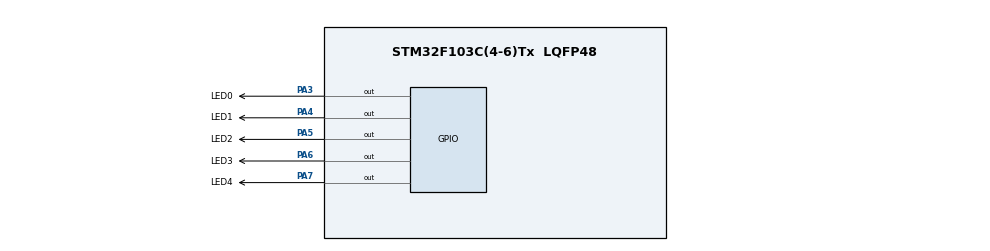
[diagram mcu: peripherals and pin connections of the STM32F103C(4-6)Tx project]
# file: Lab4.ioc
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Mcu.Family=STM32F1
Mcu.Name=STM32F103C(4-6)Tx
Mcu.Package=LQFP48
NVIC.PriorityGroup=NVIC_PRIORITYGROUP_4
NVIC.TIM2_IRQn=true\:0\:0\:false\:false\:true\:true\:true
PA3.GPIO_Label=LED0
PA3.Signal=GPIO_Output
PA4.GPIO_Label=LED1
PA4.Signal=GPIO_Output
PA5.GPIO_Label=LED2
PA5.Signal=GPIO_Output
PA6.GPIO_Label=LED3
PA6.Signal=GPIO_Output
PA7.GPIO_Label=LED4
PA7.Signal=GPIO_Output
ProjectManager.HeapSize=0x200
ProjectManager.StackSize=0x400
ProjectManager.TargetToolchain=STM32CubeIDE
RCC.APB1Freq_Value=8000000
RCC.APB2Freq_Value=8000000
TIM2.Period=9
TIM2.Prescaler=7999
VP_SYS_VS_ND.Mode=No_Debug
VP_TIM2_VS_ClockSourceINT.Mode=Internal
board=custom

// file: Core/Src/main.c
/* USER CODE BEGIN Header */
/**
  ******************************************************************************
  * @file           : main.c
  * @brief          : Main program body
  ******************************************************************************
  * @attention
  *
  * <h2><center>&copy; Copyright (c) 2023 STMicroelectronics.
  * All rights reserved.</center></h2>
  *
  * This software component is licensed by ST under BSD 3-Clause license,
  * the "License"; You may not use this file except in compliance with the
  * License. You may obtain a copy of the License at:
  *                        opensource.org/licenses/BSD-3-Clause
  *
  ******************************************************************************
  */
/* USER CODE END Header */
#include "main.h"
#include "scheduler.h"

TIM_HandleTypeDef htim2;

void SystemClock_Config(void);
static void MX_TIM2_Init(void);
static void MX_GPIO_Init(void);

/* USER CODE BEGIN 0 */
void task_0(void) {
	HAL_GPIO_TogglePin(LED0_GPIO_Port, LED0_Pin);
}
void task_1(void) {
	HAL_GPIO_TogglePin(LED1_GPIO_Port, LED1_Pin);
}

void task_2(void) {
	HAL_GPIO_TogglePin(LED2_GPIO_Port, LED2_Pin);
}

void task_3(void) {
	HAL_GPIO_TogglePin(LED3_GPIO_Port, LED3_Pin);
}

void task_4(void) {
	HAL_GPIO_TogglePin(LED4_GPIO_Port, LED4_Pin);
}
void LEDInit(void) {
	HAL_GPIO_WritePin(GPIOA, LED0_Pin | LED1_Pin | LED2_Pin | LED3_Pin | LED4_Pin, 1);
}
/* USER CODE END 0 */

int main(void)
{

  /* MCU Configuration--------------------------------------------------------*/

  /* Reset of all peripherals, Initializes the Flash interface and the Systick. */
  HAL_Init();

  /* Configure the system clock */
  SystemClock_Config();

  /* Initialize all configured peripherals */
  MX_TIM2_Init();
  MX_GPIO_Init();
  /* USER CODE BEGIN 2 */
  HAL_TIM_Base_Start_IT(&htim2);
  /* USER CODE END 2 */

  /* Infinite loop */
  /* USER CODE BEGIN WHILE */
SCH_Init();
LEDInit();

SCH_Add_Task(task_0, 0, 1000);
SCH_Add_Task(task_1, 1000, 2000);
SCH_Add_Task(task_2, 2000, 1000);
SCH_Add_Task(task_3, 3000, 2000);

SCH_Add_Task(task_4, 4000, 0); //One-shot
  while (1)
  {
    /* USER CODE END WHILE */
	  SCH_Dispatch_Tasks();
  }
}

void SystemClock_Config(void)
{
  RCC_OscInitTypeDef RCC_OscInitStruct = {0};
  RCC_ClkInitTypeDef RCC_ClkInitStruct = {0};

  /** Initializes the RCC Oscillators according to the specified parameters
  * in the RCC_OscInitTypeDef structure.
  */
  RCC_OscInitStruct.OscillatorType = RCC_OSCILLATORTYPE_HSI;
  RCC_OscInitStruct.HSIState = RCC_HSI_ON;
  RCC_OscInitStruct.HSICalibrationValue = RCC_HSICALIBRATION_DEFAULT;
  RCC_OscInitStruct.PLL.PLLState = RCC_PLL_NONE;
  if (HAL_RCC_OscConfig(&RCC_OscInitStruct) != HAL_OK)
  {
    Error_Handler();
  }
  /** Initializes the CPU, AHB and APB buses clocks
  */
  RCC_ClkInitStruct.ClockType = RCC_CLOCKTYPE_HCLK|RCC_CLOCKTYPE_SYSCLK
                              |RCC_CLOCKTYPE_PCLK1|RCC_CLOCKTYPE_PCLK2;
  RCC_ClkInitStruct.SYSCLKSource = RCC_SYSCLKSOURCE_HSI;
  RCC_ClkInitStruct.AHBCLKDivider = RCC_SYSCLK_DIV1;
  RCC_ClkInitStruct.APB1CLKDivider = RCC_HCLK_DIV1;
  RCC_ClkInitStruct.APB2CLKDivider = RCC_HCLK_DIV1;

  if (HAL_RCC_ClockConfig(&RCC_ClkInitStruct, FLASH_LATENCY_0) != HAL_OK)
  {
    Error_Handler();
  }
}

static void MX_TIM2_Init(void)
{

  TIM_ClockConfigTypeDef sClockSourceConfig = {0};
  TIM_MasterConfigTypeDef sMasterConfig = {0};

  htim2.Instance = TIM2;
  htim2.Init.Prescaler = 7999;
  htim2.Init.CounterMode = TIM_COUNTERMODE_UP;
  htim2.Init.Period = 9;
  htim2.Init.ClockDivision = TIM_CLOCKDIVISION_DIV1;
  htim2.Init.AutoReloadPreload = TIM_AUTORELOAD_PRELOAD_DISABLE;
  if (HAL_TIM_Base_Init(&htim2) != HAL_OK)
  {
    Error_Handler();
  }
  sClockSourceConfig.ClockSource = TIM_CLOCKSOURCE_INTERNAL;
  if (HAL_TIM_ConfigClockSource(&htim2, &sClockSourceConfig) != HAL_OK)
  {
    Error_Handler();
  }
  sMasterConfig.MasterOutputTrigger = TIM_TRGO_RESET;
  sMasterConfig.MasterSlaveMode = TIM_MASTERSLAVEMODE_DISABLE;
  if (HAL_TIMEx_MasterConfigSynchronization(&htim2, &sMasterConfig) != HAL_OK)
  {
    Error_Handler();
  }

}

static void MX_GPIO_Init(void)
{
  GPIO_InitTypeDef GPIO_InitStruct = {0};

  /* GPIO Ports Clock Enable */
  __HAL_RCC_GPIOA_CLK_ENABLE();

  /*Configure GPIO pin Output Level */
  HAL_GPIO_WritePin(GPIOA, LED0_Pin|LED1_Pin|LED2_Pin|LED3_Pin
                          |LED4_Pin, GPIO_PIN_RESET);

  /*Configure GPIO pins : LED0_Pin LED1_Pin LED2_Pin LED3_Pin
                           LED4_Pin */
  GPIO_InitStruct.Pin = LED0_Pin|LED1_Pin|LED2_Pin|LED3_Pin
                          |LED4_Pin;
  GPIO_InitStruct.Mode = GPIO_MODE_OUTPUT_PP;
  GPIO_InitStruct.Pull = GPIO_NOPULL;
  GPIO_InitStruct.Speed = GPIO_SPEED_FREQ_LOW;
  HAL_GPIO_Init(GPIOA, &GPIO_InitStruct);

}

/* USER CODE BEGIN 4 */
void HAL_TIM_PeriodElapsedCallback(TIM_HandleTypeDef *htim){
	SCH_Update();
}
/* USER CODE END 4 */

void Error_Handler(void)
{
  __disable_irq();
  while (1)
  {
  }
}

/************************ (C) COPYRIGHT STMicroelectronics *****END OF FILE****/
